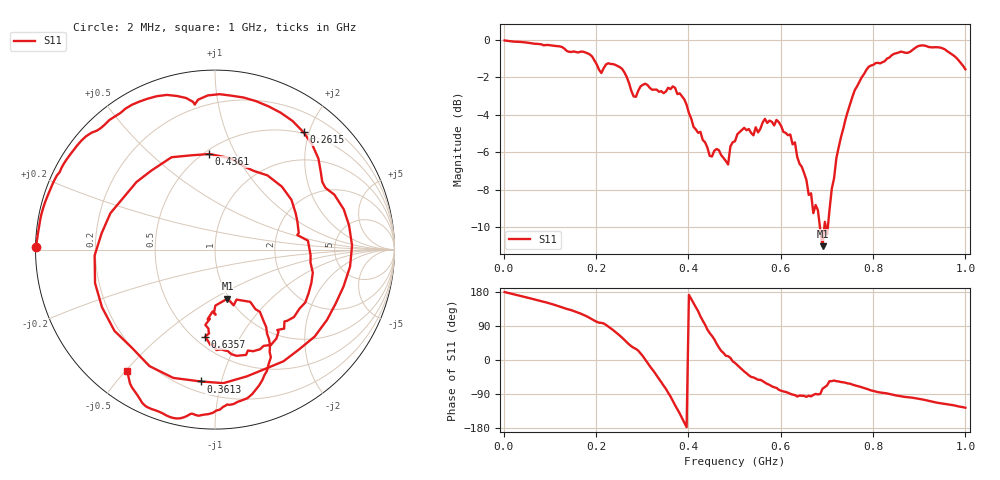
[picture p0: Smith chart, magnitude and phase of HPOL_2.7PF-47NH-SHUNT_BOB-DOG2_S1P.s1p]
!Agilent N9923A: A.07.32
!Date: Friday, 21 February 2020 06:23:14
!Model: N9923A
!Serial: MY52412229
!GPS Latitude:
!GPS Longitude:
!GPS TimeStamp: 0001-01-01 00:00:00Z
!GPS Seconds Since Last Read: 0
!CHECKSUM:0141083586
!Correction: S11(ON U)
!S1P File: Measurement: S11:
# Hz S DB R 50
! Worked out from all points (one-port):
!   201 points, 2 MHz to 1 GHz, reference 50 ohm
!   lowest |S11| = -11.0 dB at 690.6 MHz (marker M1), VSWR 1.79, Z = 48.9 - j29.1 ohm
!   |S11| at or under -10 dB: 685.1 MHz to 694.4 MHz (9.383 MHz wide, 1.36 % of centre); 697.9 MHz to 702 MHz (4.145 MHz wide, 0.592 % of centre)
!   S11 on the Smith chart (normalised r, x): 2 MHz: 0.00, +0.01; 261.5 MHz: 0.48, +1.91; 361.3 MHz: 0.27, -0.86; 436.1 MHz: 0.53, +0.79; 635.7 MHz: 0.57, -0.72; 1 GHz: 0.11, -0.50
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2000000  -0.03 179.3
7.186e7  -0.21 158.1
1.2675e8  -0.39 138.7
1.9162e8  -0.89 107.3
2.1657e8  -1.51 96.5
2.515e8  -1.45 64.4
2.6148e8  -1.73 52.9
2.9142e8  -2.71 24.7
3.1138e8  -2.40 -7.1
3.4132e8  -2.74 -58.5
3.6128e8  -2.63 -96.2
3.7625e8  -2.89 -130.0
3.9621e8  -3.46 -177.2
4.1617e8  -4.77 139.3
4.3613e8  -5.46 93.4
4.6607e8  -5.88 33.1
5.01e8  -5.40 -7.7
5.3094e8  -4.75 -40.5
5.6587e8  -4.21 -59.6
6.2575e8  -5.57 -91.3
6.3573e8  -6.24 -96.4
6.9062e8  -11.00 -75.7
7.2056e8  -6.30 -55.8
7.505e8  -3.41 -62.6
7.9541e8  -1.37 -80.2
8.7525e8  -0.69 -98.2
9.501e8  -0.45 -114.7
1e9  -1.57 -125.9
